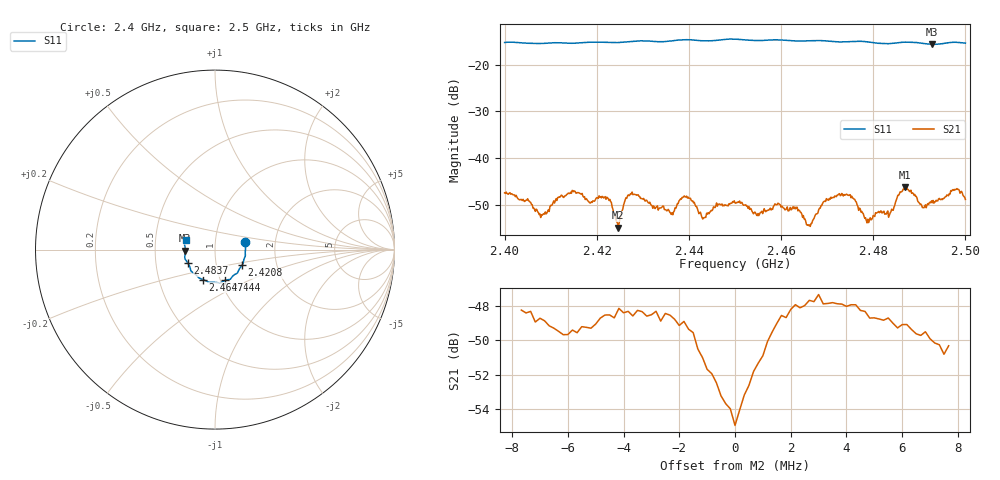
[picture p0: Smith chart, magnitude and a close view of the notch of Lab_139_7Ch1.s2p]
# Hz S RI R 50
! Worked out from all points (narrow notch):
!   601 points, 2.4 GHz to 2.5 GHz, reference 50 ohm
!   highest |S21| = -46.30 dB at 2.4868 GHz (marker M1); lowest = -55.0 dB at 2.4247 GHz (marker M2)
!   notch at M2: 5.3 dB deep, 1.28 MHz wide at half that depth
!   lowest |S11| = -15.6 dB at 2.4928 GHz (marker M3), VSWR 1.40, Z = 35.8 - j0.388 ohm
!   |S11| at or under -10 dB: start of sweep to end of sweep
!   S12 and S22 are empty: the file has one direction only
!   S11 on the Smith chart (normalised r, x): 2.4 GHz: 1.40, +0.12; 2.4208 GHz: 1.33, -0.24; 2.444 GHz: 1.06, -0.37; 2.4647 GHz: 0.83, -0.29; 2.4837 GHz: 0.73, -0.11; 2.5 GHz: 0.72, +0.08
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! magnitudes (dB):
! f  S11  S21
! 2.4 GHz  -15.2  -47.5
! 2.408 GHz  -15.4  -52.2
! 2.4167 GHz  -15.3  -47.7
! 2.4208 GHz  -15.2  -48.3
! 2.4227 GHz  -15.2  -49.1
! 2.4247 GHz  -15.2  -55.0
! 2.4272 GHz  -15.0  -48.0
! 2.4333 GHz  -15.1  -51.2
! 2.4363 GHz  -14.9  -51.8
! 2.4393 GHz  -14.6  -48.3
! 2.444 GHz  -14.9  -52.0
! 2.45 GHz  -14.5  -49.6
! 2.4647 GHz  -14.9  -52.8
! 2.4667 GHz  -14.8  -54.0
! 2.4728 GHz  -15.1  -48.1
! 2.4787 GHz  -15.1  -53.9
! 2.4833 GHz  -15.5  -52.7
! 2.4837 GHz  -15.5  -51.8
! 2.4868 GHz  -15.1  -46.3
! 2.4928 GHz  -15.6  -49.6
! 2.4977 GHz  -15.2  -46.8
! 2.5 GHz  -15.3  -48.9
